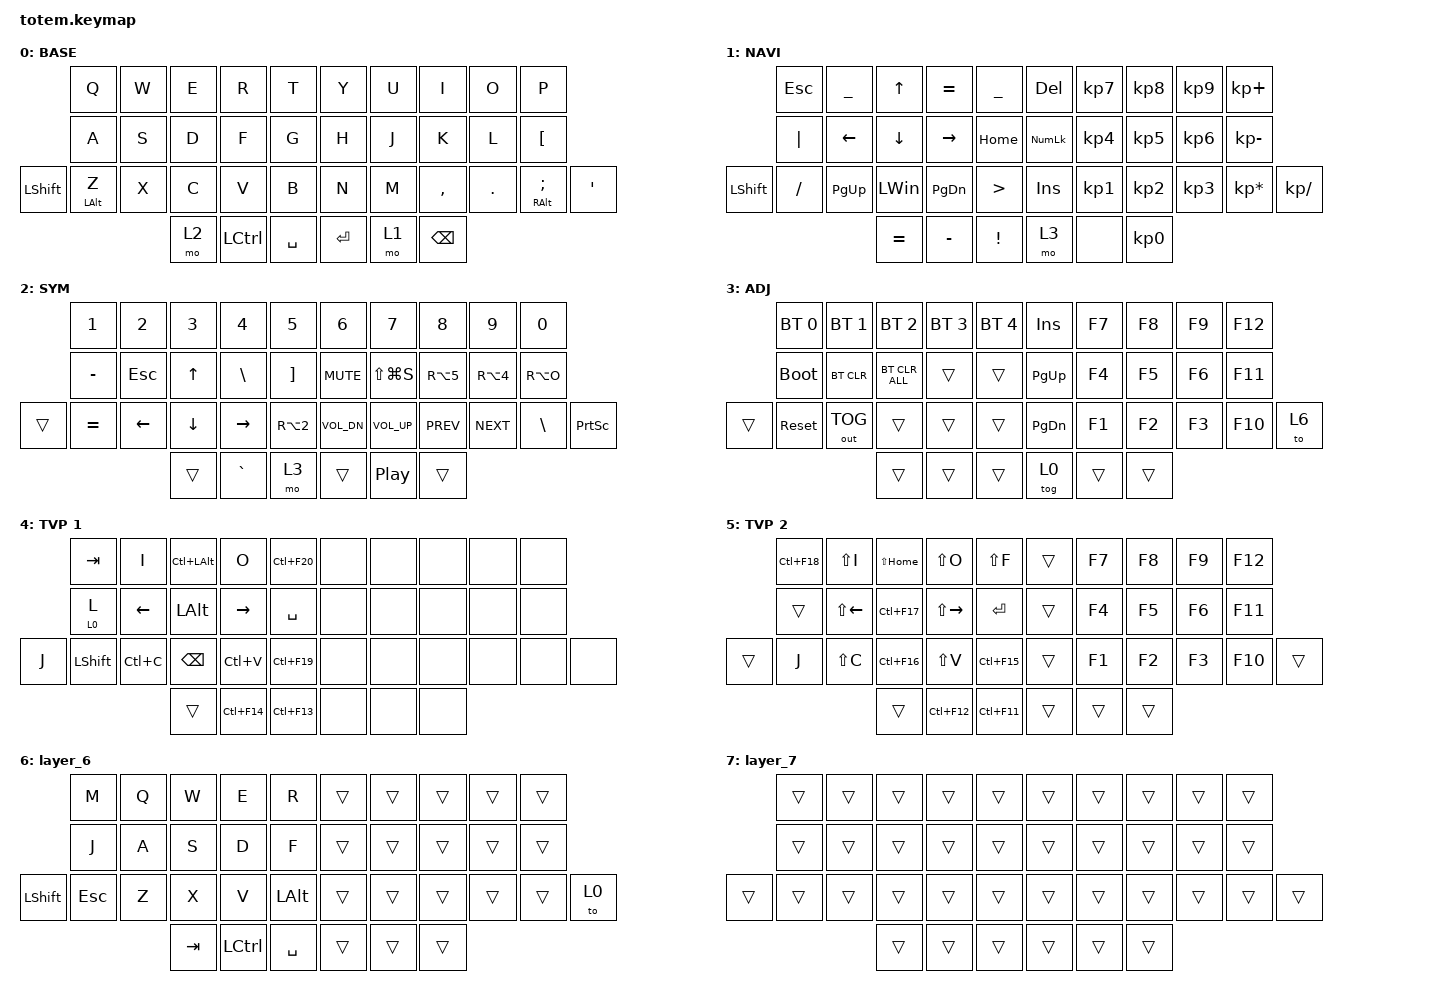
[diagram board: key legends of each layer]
//
//                                                        ▀▀▀▀▀     ▀▀▀▀▀          ▀▀█▀▀
//                                                        ▄▀▀▀▄  ▄  ▄▀▀▀▄  ▄  ▄▀▀▀▄  █  ▄▀▀▀▄
//                                                        █   █  █  █   █  █  █   █  █  █   █
//                                                         ▀▀▀   █   ▀▀▀   █   ▀▀▀   ▀   ▀▀▀
//                                                               █      ▄▄▄█▄▄▄    █   █  
//                                                               ▀      █  █  █     █▄█
//                                                             ▀▀▀▀▀    █  █  █      ▀
//                                                                      ▀  ▀  ▀
//
// ▄▄▄▄▄▄▄▄▄▄▄▄▄▄▄▄▄▄▄▄▄▄▄▄▄▄▄▄▄▄▄▄▄▄▄▄▄▄▄▄▄▄▄▄▄▄▄▄▄▄▄▄▄▄▄▄▄▄▄▄▄▄▄▄▄▄▄▄▄▄▄▄▄▄▄▄▄▄▄▄▄▄▄▄▄▄▄▄▄▄▄▄▄▄▄▄▄▄▄▄▄▄▄▄▄▄▄▄▄▄▄▄▄▄▄▄▄▄▄▄▄▄▄▄▄▄▄▄▄▄▄▄▄▄▄▄▄▄▄▄▄▄▄▄▄▄▄▄▄

#include <behaviors.dtsi>
#include <dt-bindings/zmk/bt.h>
#include <dt-bindings/zmk/keys.h>
#include <dt-bindings/zmk/outputs.h>

#define BASE 0
#define NAV  1
#define SYM  2
#define ADJ  3
#define TVP1 4
#define TVP2 5

&mt {
    quick-tap-ms = <100>;
    global-quick-tap;
    flavor = "tap-preferred";
    tapping-term-ms = <170>;
};

/ {
    combos {
        compatible = "zmk,combos";

        Tabular {
            bindings = <&kp TAB>;
            key-positions = <24 23>;
            layers = <0>;
        };
    };

    macros {
        gif: gif {
            label = "giphy";
            compatible = "zmk,behavior-macro";
            #binding-cells = <0>;
            bindings =
                <&macro_press>,
                <&kp LSHFT>,
                <&macro_tap>,
                <&kp N2>,
                <&macro_release>,
                <&kp LSHFT>,
                <&macro_tap>,
                <&kp G &kp I &kp F>;
        };
    };

    keymap {
        compatible = "zmk,keymap";

        // ▄▄▄▄▄▄▄▄▄▄▄▄▄▄▄▄▄▄▄▄▄▄▄▄▄▄▄▄▄▄▄▄▄▄▄▄▄▄▄▄▄▄▄▄▄▄▄▄▄▄▄▄▄▄▄▄▄▄▄▄▄▄▄▄▄▄▄▄▄▄▄▄▄▄▄▄▄▄▄▄▄▄▄▄▄▄▄▄▄▄▄▄▄▄▄▄▄▄▄▄▄▄▄▄▄▄▄▄▄▄▄▄▄▄▄▄▄▄▄▄▄▄▄▄▄▄▄▄▄▄▄▄▄▄▄▄▄▄▄▄▄▄▄▄▄▄▄▄▄

        base_layer {
            // ┏━━━━━━━━━━━━━━━━━━━━━━━━━━━━━━━━━━━━━━━┓

            label = "BASE";

            // ┗━━━━━━━━━━━━━━━━━━━━━━━━━━━━━━━━━━━━━━━┛
            //             ┏━━━━━━━━━━━┳━━━━━━━━━━━┳━━━━━━━━━━━┳━━━━━━━━━━━┳━━━━━━━━━━━┓   ┏━━━━━━━━━━━┳━━━━━━━━━━━┳━━━━━━━━━━━┳━━━━━━━━━━━┳━━━━━━━━━━━┓
            //             ┃     Q     ┃     W     ┃     F     ┃     P     ┃     G     ┃   ┃     J     ┃     L     ┃     U     ┃     Y     ┃     ;     ┃
            //             ┣━━━━━━━━━━━╋━━━━━━━━━━━╋━━━━━━━━━━━╋━━━━━━━━━━━╋━━━━━━━━━━━┫   ┣━━━━━━━━━━━╋━━━━━━━━━━━╋━━━━━━━━━━━╋━━━━━━━━━━━╋━━━━━━━━━━━┫
            //             ┃     A     ┃     R     ┃     S     ┃     T     ┃     D     ┃   ┃     H     ┃     N     ┃     E     ┃     I     ┃     O     ┃
            // ┏━━━━━━━━━━━╋━━━━━━━━━━━╋━━━━━━━━━━━╋━━━━━━━━━━━╋━━━━━━━━━━━╋━━━━━━━━━━━┫   ┣━━━━━━━━━━━╋━━━━━━━━━━━╋━━━━━━━━━━━╋━━━━━━━━━━━╋━━━━━━━━━━━╋━━━━━━━━━━━┓
            // ┃     Q     ┃     Z     ┃     X     ┃     C     ┃     V     ┃     B     ┃   ┃     K     ┃     M     ┃     ,     ┃     .     ┃     /     ┃     \     ┃
            // ┗━━━━━━━━━━━┻━━━━━━━━━━━┻━━━━━━━━━━━╋━━━━━━━━━━━╋━━━━━━━━━━━╋━━━━━━━━━━━┫   ┣━━━━━━━━━━━╋━━━━━━━━━━━╋━━━━━━━━━━━╋━━━━━━━━━━━┻━━━━━━━━━━━┻━━━━━━━━━━━┛
            //                                     ┃    DEL    ┃    TAB    ┃    SPC    ┃   ┃   ENTER   ┃           ┃   BSPC    ┃
            //                                     ┗━━━━━━━━━━━┻━━━━━━━━━━━┻━━━━━━━━━━━┛   ┗━━━━━━━━━━━┻━━━━━━━━━━━┻━━━━━━━━━━━┛

            bindings = <
                &kp Q           &kp W  &kp E  &kp R      &kp T        &kp Y    &kp U  &kp I      &kp O       &kp P
                &kp A           &kp S  &kp D  &kp F      &kp G        &kp H    &kp J  &kp K      &kp L       &kp LEFT_BRACKET
&kp LEFT_SHIFT  &mt LEFT_ALT Z  &kp X  &kp C  &kp V      &kp B        &kp N    &kp M  &kp COMMA  &kp PERIOD  &mt RIGHT_ALT SEMI  &kp SQT
                                       &mo 2  &kp LCTRL  &kp SPACE    &kp RET  &mo 1  &kp BSPC
            >;
        };

        // ▄▄▄▄▄▄▄▄▄▄▄▄▄▄▄▄▄▄▄▄▄▄▄▄▄▄▄▄▄▄▄▄▄▄▄▄▄▄▄▄▄▄▄▄▄▄▄▄▄▄▄▄▄▄▄▄▄▄▄▄▄▄▄▄▄▄▄▄▄▄▄▄▄▄▄▄▄▄▄▄▄▄▄▄▄▄▄▄▄▄▄▄▄▄▄▄▄▄▄▄▄▄▄▄▄▄▄▄▄▄▄▄▄▄▄▄▄▄▄▄▄▄▄▄▄▄▄▄▄▄▄▄▄▄▄▄▄▄▄▄▄▄▄▄▄▄▄▄▄

        nav_layer {
            // ┏━━━━━━━━━━━━━━━━━━━━━━━━━━━━━━━━━━━━━━━┓

            label = "NAVI";

            // ┗━━━━━━━━━━━━━━━━━━━━━━━━━━━━━━━━━━━━━━━┛
            //             ┏━━━━━━━━━━━┳━━━━━━━━━━━┳━━━━━━━━━━━┳━━━━━━━━━━━┳━━━━━━━━━━━┓   ┏━━━━━━━━━━━┳━━━━━━━━━━━┳━━━━━━━━━━━┳━━━━━━━━━━━┳━━━━━━━━━━━┓
            //             ┃           ┃           ┃     UP    ┃           ┃     {     ┃   ┃     }     ┃     7     ┃     8     ┃     9     ┃     +     ┃
            //             ┣━━━━━━━━━━━╋━━━━━━━━━━━╋━━━━━━━━━━━╋━━━━━━━━━━━╋━━━━━━━━━━━┫   ┣━━━━━━━━━━━╋━━━━━━━━━━━╋━━━━━━━━━━━╋━━━━━━━━━━━╋━━━━━━━━━━━┫
            //             ┃   SHIFT   ┃   LEFT    ┃    DOWN   ┃   RIGHT   ┃     [     ┃   ┃     ]     ┃     4     ┃     5     ┃     6     ┃     -     ┃
            // ┏━━━━━━━━━━━╋━━━━━━━━━━━╋━━━━━━━━━━━╋━━━━━━━━━━━╋━━━━━━━━━━━╋━━━━━━━━━━━┫   ┣━━━━━━━━━━━╋━━━━━━━━━━━╋━━━━━━━━━━━╋━━━━━━━━━━━╋━━━━━━━━━━━╋━━━━━━━━━━━┓
            // ┃           ┃           ┃   P UP    ┃  C LOCK   ┃  P DOWN   ┃     (     ┃   ┃     )     ┃     1     ┃     2     ┃     3     ┃     *     ┃           ┃
            // ┗━━━━━━━━━━━┻━━━━━━━━━━━┻━━━━━━━━━━━╋━━━━━━━━━━━╋━━━━━━━━━━━╋━━━━━━━━━━━┫   ┣━━━━━━━━━━━╋━━━━━━━━━━━╋━━━━━━━━━━━╋━━━━━━━━━━━┻━━━━━━━━━━━┻━━━━━━━━━━━┛
            //                                     ┃           ┃    TAB    ┃    SPC    ┃   ┃    DEL    ┃     0     ┃           ┃
            //                                     ┗━━━━━━━━━━━┻━━━━━━━━━━━┻━━━━━━━━━━━┛   ┗━━━━━━━━━━━┻━━━━━━━━━━━┻━━━━━━━━━━━┛

            bindings = <
                &kp ESC    &kp UNDER  &kp UP_ARROW  &kp EQUAL  &kp UNDERSCORE      &kp DEL         &kp KP_N7  &kp KP_N8        &kp KP_N9  &kp KP_PLUS
                &kp PIPE   &kp LEFT   &kp DOWN      &kp RIGHT  &kp HOME            &kp KP_NUMLOCK  &kp KP_N4  &kp KP_N5        &kp KP_N6  &kp KP_MINUS
&kp LEFT_SHIFT  &kp SLASH  &kp PG_UP  &kp LEFT_WIN  &kp PG_DN  &kp GREATER_THAN    &kp INSERT      &kp KP_N1  &kp KP_N2        &kp KP_N3  &kp KP_MULTIPLY  &kp KP_DIVIDE
                                      &kp EQUAL     &kp MINUS  &kp EXCL            &mo 3           &none      &kp KP_NUMBER_0
            >;
        };

        // ▄▄▄▄▄▄▄▄▄▄▄▄▄▄▄▄▄▄▄▄▄▄▄▄▄▄▄▄▄▄▄▄▄▄▄▄▄▄▄▄▄▄▄▄▄▄▄▄▄▄▄▄▄▄▄▄▄▄▄▄▄▄▄▄▄▄▄▄▄▄▄▄▄▄▄▄▄▄▄▄▄▄▄▄▄▄▄▄▄▄▄▄▄▄▄▄▄▄▄▄▄▄▄▄▄▄▄▄▄▄▄▄▄▄▄▄▄▄▄▄▄▄▄▄▄▄▄▄▄▄▄▄▄▄▄▄▄▄▄▄▄▄▄▄▄▄▄▄▄

        sim_layer {
            // ┏━━━━━━━━━━━━━━━━━━━━━━━━━━━━━━━━━━━━━━━┓

            label = "SYM";

            // ┗━━━━━━━━━━━━━━━━━━━━━━━━━━━━━━━━━━━━━━━┛
            //             ┏━━━━━━━━━━━┳━━━━━━━━━━━┳━━━━━━━━━━━┳━━━━━━━━━━━┳━━━━━━━━━━━┓   ┏━━━━━━━━━━━┳━━━━━━━━━━━┳━━━━━━━━━━━┳━━━━━━━━━━━┳━━━━━━━━━━━┓
            //             ┃     !     ┃     @     ┃     #     ┃     $     ┃     %     ┃   ┃     ˆ     ┃     &     ┃     Ü     ┃     '     ┃     "     ┃
            //             ┣━━━━━━━━━━━╋━━━━━━━━━━━╋━━━━━━━━━━━╋━━━━━━━━━━━╋━━━━━━━━━━━┫   ┣━━━━━━━━━━━╋━━━━━━━━━━━╋━━━━━━━━━━━╋━━━━━━━━━━━╋━━━━━━━━━━━┫
            //             ┃     Ä     ┃           ┃    SZ     ┃           ┃           ┃   ┃   MUTE    ┃   YEN     ┃   EURO    ┃  POUND    ┃     Ö     ┃
            // ┏━━━━━━━━━━━╋━━━━━━━━━━━╋━━━━━━━━━━━╋━━━━━━━━━━━╋━━━━━━━━━━━╋━━━━━━━━━━━┫   ┣━━━━━━━━━━━╋━━━━━━━━━━━╋━━━━━━━━━━━╋━━━━━━━━━━━╋━━━━━━━━━━━╋━━━━━━━━━━━┓
            // ┃           ┃  EMAIL1   ┃  EMAIL2   ┃           ┃           ┃           ┃   ┃   VOL-    ┃   VOL+    ┃   LAST    ┃   NEXT    ┃     \     ┃           ┃
            // ┗━━━━━━━━━━━┻━━━━━━━━━━━┻━━━━━━━━━━━╋━━━━━━━━━━━╋━━━━━━━━━━━╋━━━━━━━━━━━┫   ┣━━━━━━━━━━━╋━━━━━━━━━━━╋━━━━━━━━━━━╋━━━━━━━━━━━┻━━━━━━━━━━━┻━━━━━━━━━━━┛
            //                                     ┃           ┃    GIF    ┃    ADJ    ┃   ┃           ┃           ┃           ┃
            //                                     ┗━━━━━━━━━━━┻━━━━━━━━━━━┻━━━━━━━━━━━┛   ┗━━━━━━━━━━━┻━━━━━━━━━━━┻━━━━━━━━━━━┛

            bindings = <
        &kp NUMBER_1  &kp NUMBER_2  &kp NUMBER_3    &kp NUMBER_4   &kp N5               &kp NUMBER_6  &kp N7         &kp N8      &kp N9      &kp N0
        &kp MINUS     &kp ESCAPE    &kp UP_ARROW    &kp BACKSLASH  &kp RIGHT_BRACKET    &kp C_MUTE    &kp LS(LG(S))  &kp RA(N5)  &kp RA(N4)  &kp RA(O)
&trans  &kp EQUAL     &kp LEFT      &kp DOWN_ARROW  &kp RIGHT      &kp RA(NUMBER_2)     &kp C_VOL_DN  &kp C_VOL_UP   &kp C_PREV  &kp C_NEXT  &kp BSLH   &kp PRINTSCREEN
                                    &trans          &kp GRAVE      &mo 3                &trans        &kp C_PP       &trans
            >;
        };

        // ▄▄▄▄▄▄▄▄▄▄▄▄▄▄▄▄▄▄▄▄▄▄▄▄▄▄▄▄▄▄▄▄▄▄▄▄▄▄▄▄▄▄▄▄▄▄▄▄▄▄▄▄▄▄▄▄▄▄▄▄▄▄▄▄▄▄▄▄▄▄▄▄▄▄▄▄▄▄▄▄▄▄▄▄▄▄▄▄▄▄▄▄▄▄▄▄▄▄▄▄▄▄▄▄▄▄▄▄▄▄▄▄▄▄▄▄▄▄▄▄▄▄▄▄▄▄▄▄▄▄▄▄▄▄▄▄▄▄▄▄▄▄▄▄▄▄▄▄▄

        adjust_layer {
            // ┏━━━━━━━━━━━━━━━━━━━━━━━━━━━━━━━━━━━━━━━┓

            label = "ADJ";

            // ┗━━━━━━━━━━━━━━━━━━━━━━━━━━━━━━━━━━━━━━━┛
            //             ┏━━━━━━━━━━━┳━━━━━━━━━━━┳━━━━━━━━━━━┳━━━━━━━━━━━┳━━━━━━━━━━━┓   ┏━━━━━━━━━━━┳━━━━━━━━━━━┳━━━━━━━━━━━┳━━━━━━━━━━━┳━━━━━━━━━━━┓
            //             ┃   RESET   ┃ BT CLEAR  ┃  OUT TOG  ┃           ┃           ┃   ┃           ┃    F7     ┃    F8     ┃    F9     ┃    F12    ┃
            //             ┣━━━━━━━━━━━╋━━━━━━━━━━━╋━━━━━━━━━━━╋━━━━━━━━━━━╋━━━━━━━━━━━┫   ┣━━━━━━━━━━━╋━━━━━━━━━━━╋━━━━━━━━━━━╋━━━━━━━━━━━╋━━━━━━━━━━━┫
            //             ┃ BOOTLOAD  ┃ BT NEXT   ┃           ┃           ┃           ┃   ┃           ┃    F4     ┃    F5     ┃    F6     ┃    F11    ┃
            // ┏━━━━━━━━━━━╋━━━━━━━━━━━╋━━━━━━━━━━━╋━━━━━━━━━━━╋━━━━━━━━━━━╋━━━━━━━━━━━┫   ┣━━━━━━━━━━━╋━━━━━━━━━━━╋━━━━━━━━━━━╋━━━━━━━━━━━╋━━━━━━━━━━━╋━━━━━━━━━━━┓
            // ┃           ┃           ┃ BT PREV   ┃           ┃           ┃           ┃   ┃           ┃    F1     ┃    F2     ┃    F3     ┃    F10    ┃           ┃
            // ┗━━━━━━━━━━━┻━━━━━━━━━━━┻━━━━━━━━━━━╋━━━━━━━━━━━╋━━━━━━━━━━━╋━━━━━━━━━━━┫   ┣━━━━━━━━━━━╋━━━━━━━━━━━╋━━━━━━━━━━━╋━━━━━━━━━━━┻━━━━━━━━━━━┻━━━━━━━━━━━┛
            //                                     ┃           ┃           ┃           ┃   ┃           ┃           ┃           ┃
            //                                     ┗━━━━━━━━━━━┻━━━━━━━━━━━┻━━━━━━━━━━━┛   ┗━━━━━━━━━━━┻━━━━━━━━━━━┻━━━━━━━━━━━┛

            bindings = <
        &bt BT_SEL 0  &bt BT_SEL 1  &bt BT_SEL 2    &bt BT_SEL 3  &bt BT_SEL 4    &kp INSERT     &kp F7  &kp F8  &kp F9  &kp F12
        &bootloader   &bt BT_CLR    &bt BT_CLR_ALL  &trans        &trans          &kp PG_UP      &kp F4  &kp F5  &kp F6  &kp F11
&trans  &sys_reset    &out OUT_TOG  &trans          &trans        &trans          &kp PAGE_DOWN  &kp F1  &kp F2  &kp F3  &kp F10  &to 6
                                    &trans          &trans        &trans          &tog 0         &trans  &trans
            >;
        };

        // ▄▄▄▄▄▄▄▄▄▄▄▄▄▄▄▄▄▄▄▄▄▄▄▄▄▄▄▄▄▄▄▄▄▄▄▄▄▄▄▄▄▄▄▄▄▄▄▄▄▄▄▄▄▄▄▄▄▄▄▄▄▄▄▄▄▄▄▄▄▄▄▄▄▄▄▄▄▄▄▄▄▄▄▄▄▄▄▄▄▄▄▄▄▄▄▄▄▄▄▄▄▄▄▄▄▄▄▄▄▄▄▄▄▄▄▄▄▄▄▄▄▄▄▄▄▄▄▄▄▄▄▄▄▄▄▄▄▄▄▄▄▄▄▄▄▄▄▄▄

        tvp1_layer {
            // ┏━━━━━━━━━━━━━━━━━━━━━━━━━━━━━━━━━━━━━━━┓

            label = "TVP 1";

            // ┗━━━━━━━━━━━━━━━━━━━━━━━━━━━━━━━━━━━━━━━┛
            //             ┏━━━━━━━━━━━┳━━━━━━━━━━━┳━━━━━━━━━━━┳━━━━━━━━━━━┳━━━━━━━━━━━┓   ┏━━━━━━━━━━━┳━━━━━━━━━━━┳━━━━━━━━━━━┳━━━━━━━━━━━┳━━━━━━━━━━━┓
            //             ┃ NEXT FILE ┃ MARK IN   ┃ ROTATE    ┃ MARK OUT  ┃ SHOW SNAP ┃   ┃           ┃           ┃           ┃           ┃           ┃
            //             ┣━━━━━━━━━━━╋━━━━━━━━━━━╋━━━━━━━━━━━╋━━━━━━━━━━━╋━━━━━━━━━━━┫   ┣━━━━━━━━━━━╋━━━━━━━━━━━╋━━━━━━━━━━━╋━━━━━━━━━━━╋━━━━━━━━━━━┫
            //             ┃ TVP II    ┃ LEFT      ┃ PAN       ┃ RIGHT     ┃ PLAY/FLIP ┃   ┃           ┃           ┃           ┃           ┃           ┃
            // ┏━━━━━━━━━━━╋━━━━━━━━━━━╋━━━━━━━━━━━╋━━━━━━━━━━━╋━━━━━━━━━━━╋━━━━━━━━━━━┫   ┣━━━━━━━━━━━╋━━━━━━━━━━━╋━━━━━━━━━━━╋━━━━━━━━━━━╋━━━━━━━━━━━╋━━━━━━━━━━━┓
            // ┃ FULLSCR   ┃ SHIFT     ┃ COPY      ┃ DELETE    ┃ PASTE     ┃ IMG MARK  ┃   ┃           ┃           ┃           ┃           ┃           ┃           ┃
            // ┗━━━━━━━━━━━┻━━━━━━━━━━━┻━━━━━━━━━━━╋━━━━━━━━━━━╋━━━━━━━━━━━╋━━━━━━━━━━━┫   ┣━━━━━━━━━━━╋━━━━━━━━━━━╋━━━━━━━━━━━╋━━━━━━━━━━━┻━━━━━━━━━━━┻━━━━━━━━━━━┛
            //                                     ┃           ┃ UNDO/SAVE ┃  SEL/MOV  ┃   ┃           ┃           ┃           ┃
            //                                     ┗━━━━━━━━━━━┻━━━━━━━━━━━┻━━━━━━━━━━━┛   ┗━━━━━━━━━━━┻━━━━━━━━━━━┻━━━━━━━━━━━┛

            bindings = <
       &kp TAB    &kp I      &kp LC(LALT)  &kp O        &kp LC(F20)    &none  &none  &none  &none  &none
       &lt 0 L    &kp LEFT   &kp LALT      &kp RIGHT    &kp SPACE      &none  &none  &none  &none  &none
&kp J  &kp LSHFT  &kp LC(C)  &kp BSPC      &kp LC(V)    &kp LC(F19)    &none  &none  &none  &none  &none  &none
                             &trans        &kp LC(F14)  &kp LC(F13)    &none  &none  &none
            >;
        };

        // ▄▄▄▄▄▄▄▄▄▄▄▄▄▄▄▄▄▄▄▄▄▄▄▄▄▄▄▄▄▄▄▄▄▄▄▄▄▄▄▄▄▄▄▄▄▄▄▄▄▄▄▄▄▄▄▄▄▄▄▄▄▄▄▄▄▄▄▄▄▄▄▄▄▄▄▄▄▄▄▄▄▄▄▄▄▄▄▄▄▄▄▄▄▄▄▄▄▄▄▄▄▄▄▄▄▄▄▄▄▄▄▄▄▄▄▄▄▄▄▄▄▄▄▄▄▄▄▄▄▄▄▄▄▄▄▄▄▄▄▄▄▄▄▄▄▄▄▄▄

        tvp2_layer {
            // ┏━━━━━━━━━━━━━━━━━━━━━━━━━━━━━━━━━━━━━━━┓

            label = "TVP 2";

            // ┗━━━━━━━━━━━━━━━━━━━━━━━━━━━━━━━━━━━━━━━┛
            //             ┏━━━━━━━━━━━┳━━━━━━━━━━━┳━━━━━━━━━━━┳━━━━━━━━━━━┳━━━━━━━━━━━┓   ┏━━━━━━━━━━━┳━━━━━━━━━━━┳━━━━━━━━━━━┳━━━━━━━━━━━┳━━━━━━━━━━━┓
            //             ┃ SOLO      ┃ TOGGLE IN ┃ RESET ROT ┃ TOGGLE OUT┃ TAKE SNAP ┃   ┃           ┃           ┃           ┃           ┃           ┃
            //             ┣━━━━━━━━━━━╋━━━━━━━━━━━╋━━━━━━━━━━━╋━━━━━━━━━━━╋━━━━━━━━━━━┫   ┣━━━━━━━━━━━╋━━━━━━━━━━━╋━━━━━━━━━━━╋━━━━━━━━━━━╋━━━━━━━━━━━┫
            //             ┃ ---       ┃ LAST KEY  ┃ NEW KEY   ┃ NEXT KEY  ┃ ENTER     ┃   ┃           ┃           ┃           ┃           ┃           ┃
            // ┏━━━━━━━━━━━╋━━━━━━━━━━━╋━━━━━━━━━━━╋━━━━━━━━━━━╋━━━━━━━━━━━╋━━━━━━━━━━━┫   ┣━━━━━━━━━━━╋━━━━━━━━━━━╋━━━━━━━━━━━╋━━━━━━━━━━━╋━━━━━━━━━━━╋━━━━━━━━━━━┓
            // ┃           ┃ FULLSCR   ┃ CPY2BRUSH ┃ DEL HEAD  ┃ PSTinPLACE┃ BOOK MARK ┃   ┃           ┃           ┃           ┃           ┃           ┃           ┃
            // ┗━━━━━━━━━━━┻━━━━━━━━━━━┻━━━━━━━━━━━╋━━━━━━━━━━━╋━━━━━━━━━━━╋━━━━━━━━━━━┫   ┣━━━━━━━━━━━╋━━━━━━━━━━━╋━━━━━━━━━━━╋━━━━━━━━━━━┻━━━━━━━━━━━┻━━━━━━━━━━━┛
            //                                     ┃           ┃ REDO/SAV1 ┃TRANS/WARP ┃   ┃           ┃           ┃           ┃
            //                                     ┗━━━━━━━━━━━┻━━━━━━━━━━━┻━━━━━━━━━━━┛   ┗━━━━━━━━━━━┻━━━━━━━━━━━┻━━━━━━━━━━━┛

            bindings = <
        &kp LC(F18)  &kp LS(I)     &kp LS(HOME)  &kp LS(O)      &kp LS(F)      &trans  &kp F7  &kp F8  &kp F9  &kp F12
        &trans       &kp LS(LEFT)  &kp LC(F17)   &kp LS(RIGHT)  &kp RET        &trans  &kp F4  &kp F5  &kp F6  &kp F11
&trans  &kp J        &kp LS(C)     &kp LC(F16)   &kp LS(V)      &kp LC(F15)    &trans  &kp F1  &kp F2  &kp F3  &kp F10  &trans
                                   &trans        &kp LC(F12)    &kp LC(F11)    &trans  &trans  &trans
            >;
        };

        layer_6 {
            bindings = <
                &kp M       &kp Q  &kp W    &kp E             &kp R           &trans  &trans  &trans  &trans  &trans
                &kp J       &kp A  &kp S    &kp D             &kp F           &trans  &trans  &trans  &trans  &trans
&kp LEFT_SHIFT  &kp ESCAPE  &kp Z  &kp X    &kp V             &kp LEFT_ALT    &trans  &trans  &trans  &trans  &trans  &to 0
                                   &kp TAB  &kp LEFT_CONTROL  &kp SPACE       &trans  &trans  &trans
            >;
        };

        layer_7 {
            bindings = <
        &trans  &trans  &trans  &trans  &trans    &trans  &trans  &trans  &trans  &trans
        &trans  &trans  &trans  &trans  &trans    &trans  &trans  &trans  &trans  &trans
&trans  &trans  &trans  &trans  &trans  &trans    &trans  &trans  &trans  &trans  &trans  &trans
                        &trans  &trans  &trans    &trans  &trans  &trans
            >;
        };
    };
};
